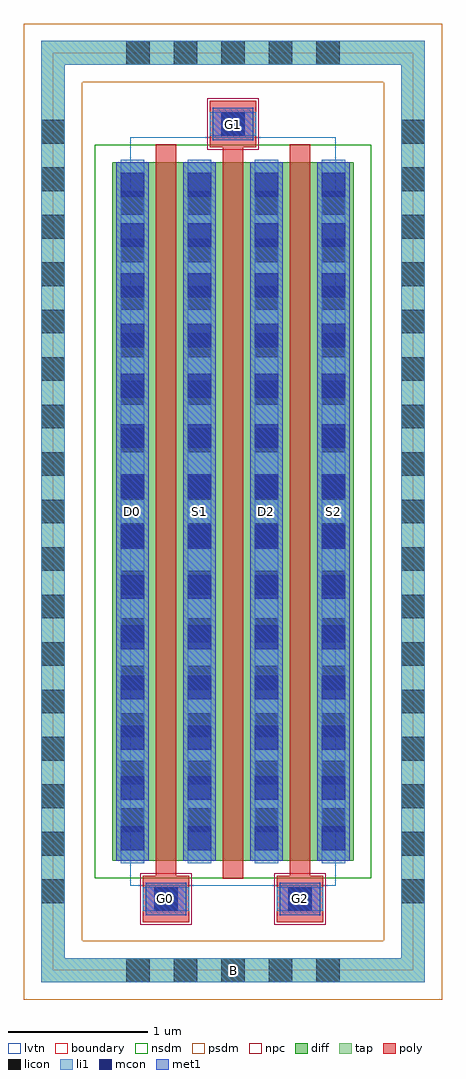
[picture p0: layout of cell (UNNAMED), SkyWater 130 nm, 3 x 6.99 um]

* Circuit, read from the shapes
.subckt (UNNAMED) B D0 D2 G0 G1 G2 S1 S2
XM1 S1 G0 D0 B sky130_fd_pr__nfet_01v8_lvt w=5 l=0.15
XM2 D2 G1 S1 B sky130_fd_pr__nfet_01v8_lvt w=5 l=0.15
XM3 S2 G2 D2 B sky130_fd_pr__nfet_01v8_lvt w=5 l=0.15
.ends

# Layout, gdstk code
import gdstk
lib = gdstk.Library(unit=1e-6, precision=1e-09)
def R(c, l, rs):  # rectangles x0, y0, x1, y1
    for r in rs: c.add(gdstk.rectangle(r[:2], r[2:], *l))
def A(c, l, x, y, w, h, nx, ny, dx, dy):  # array of equal rectangles
    R(c, l, [(x+i*dx, y+j*dy, x+i*dx+w, y+j*dy+h) for i in range(nx) for j in range(ny)])
diff = (65, 20)
tap = (65, 44)
poly = (66, 20)
licon = (66, 44)
li1 = (67, 20)
mcon = (67, 44)
met1 = (68, 20)
nsdm = (93, 44)
psdm = (94, 20)
npc = (95, 20)
lvtn = (125, 44)
boundary = (235, 4)

c__unnamed_ = lib.new_cell('(UNNAMED)')
R(c__unnamed_, diff, [(-0.865,-2.5,0.865,2.5)])
R(c__unnamed_, tap, [(-1.375,-3.37,1.375,-3.2), (-1.375,-3.2,-1.205,3.2), (1.205,-3.2,1.375,3.2), (-1.375,3.2,1.375,3.37)])
R(c__unnamed_, poly, [(-0.645,-2.94,-0.315,-2.61), (0.315,-2.94,0.645,-2.61), (-0.075,-2.63,0.075,2.61), (-0.555,-2.61,-0.405,2.63), (0.405,-2.61,0.555,2.63), (-0.165,2.61,0.165,2.94)])
A(c__unnamed_, licon, -0.765, -3.37, 0.17, 0.17, 5, 2, 0.34, 6.57)
A(c__unnamed_, licon, -1.375, -2.805, 0.17, 0.17, 1, 17, 0, 0.34)
A(c__unnamed_, licon, 1.205, -2.805, 0.17, 0.17, 1, 17, 0, 0.34)
A(c__unnamed_, licon, -0.805, -2.295, 0.17, 0.17, 4, 14, 0.48, 0.34)
R(c__unnamed_, licon, [(-0.565,-2.86,-0.395,-2.69), (0.395,-2.86,0.565,-2.69), (-0.085,2.69,0.085,2.86)])
A(c__unnamed_, li1, -0.805, -2.52, 0.17, 5.04, 4, 1, 0.48, 0)
R(c__unnamed_, li1, [(-1.375,-3.37,1.375,-3.2), (-1.375,-3.2,-1.205,3.2), (1.205,-3.2,1.375,3.2), (-0.645,-2.86,-0.315,-2.69), (0.315,-2.86,0.645,-2.69), (-0.165,2.69,0.165,2.86), (-1.375,3.2,1.375,3.37)])
A(c__unnamed_, mcon, -0.805, -2.425, 0.17, 0.17, 4, 14, 0.48, 0.36)
R(c__unnamed_, mcon, [(-0.565,-2.86,-0.395,-2.69), (0.395,-2.86,0.565,-2.69), (-0.085,2.69,0.085,2.86)])
A(c__unnamed_, met1, -0.835, -2.5, 0.23, 5, 4, 1, 0.48, 0)
R(c__unnamed_, met1, [(-0.625,-2.89,-0.335,-2.66), (0.335,-2.89,0.625,-2.66), (-0.145,2.66,0.145,2.89)])
R(c__unnamed_, nsdm, [(-0.99,-2.625,0.99,2.625)])
R(c__unnamed_, psdm, [(-1.5,-3.495,1.5,-3.075), (-1.5,-3.075,-1.08,3.075), (1.08,-3.075,1.5,3.075), (-1.5,3.075,1.5,3.495)])
R(c__unnamed_, npc, [(-0.665,-2.96,-0.295,-2.59), (0.295,-2.96,0.665,-2.59), (-0.185,2.59,0.185,2.96)])
R(c__unnamed_, lvtn, [(-0.735,-2.68,0.735,2.68)])
R(c__unnamed_, boundary, [(-1.29,-3.285,1.29,3.285)])
c__unnamed_.add(gdstk.Label('B', (0,-3.285), layer=67, texttype=5))
c__unnamed_.add(gdstk.Label('D0', (-0.72,0), layer=67, texttype=5))
c__unnamed_.add(gdstk.Label('G0', (-0.48,-2.775), layer=67, texttype=5))
c__unnamed_.add(gdstk.Label('S1', (-0.24,0), layer=67, texttype=5))
c__unnamed_.add(gdstk.Label('G1', (0,2.775), layer=67, texttype=5))
c__unnamed_.add(gdstk.Label('D2', (0.24,0), layer=67, texttype=5))
c__unnamed_.add(gdstk.Label('S2', (0.72,0), layer=67, texttype=5))
c__unnamed_.add(gdstk.Label('G2', (0.48,-2.775), layer=67, texttype=5))

lib.write_gds('_UNNAMED_.gds')
